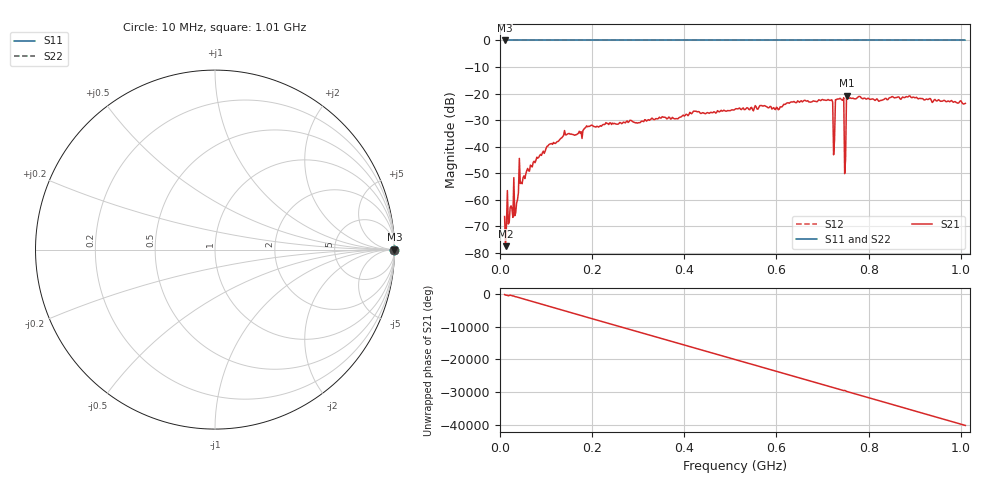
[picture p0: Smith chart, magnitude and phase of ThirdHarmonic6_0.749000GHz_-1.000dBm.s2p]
! 8/16/2025 1:03:42 AM
! C:\ANRITSUVNA\TEMP\TEMP.S2P
! CHANNEL.1
! TR.MEASUREMENT
! RAW.DATA
! RF.CORRECTION.OFF
! AVERAGING.OFF
! IF.BANDWIDTH: 5KHZ
! SWEEPTYPE:  FREQ.SWEEP(Linear)
! Reference Plane Port Info
! PORT:  PORT1  PORT2
! DISTANCE:  0  m  0  m
! TIME:  0  s  0  s
! PHASE.OFFSET:  0  deg.  0  deg.
! LOSS:  0  dB  0  dB
! REF.LOSS:  0  dB  0  dB
! REF.FREQ:  0  Hz  0  Hz
! Power Info
! POWER:  -20  dBm  -20  dBm
! EFF.POWER:  -20  dBm  -20  dBm
! SOURCE.ATTEN:  0  dB  0  dB
! TEST.ATTEN:  0  dB  0  dB
# GHZ S RI R 50.0
! FREQ.GHZ  S11RE  S11IM  S21RE  S21IM  S12RE  S12IM  S22RE  S22IM
!; PortSelection: Port_12
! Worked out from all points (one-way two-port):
!   501 points, 10 MHz to 1.01 GHz, reference 50 ohm
!   highest |S21| = -20.83 dB at 752 MHz (marker M1); lowest = -77.5 dB at 12 MHz (marker M2)
!   lowest |S11| = 0.0 dB at 10 MHz (marker M3)
!   |S11| at or under -10 dB: nowhere
!   |S22| runs from 0.0 to 0.0 dB; largest |S21 - S12| = 1.1
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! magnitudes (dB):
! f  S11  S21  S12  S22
! 10 MHz  0.0  -66.3  0.0  0.0
! 12 MHz  0.0  -77.5  0.0  0.0
! 16 MHz  0.0  -56.5  0.0  0.0
! 26 MHz  0.0  -63.5  0.0  0.0
! 36 MHz  0.0  -61.3  0.0  0.0
! 40 MHz  0.0  -57.3  0.0  0.0
! 46 MHz  0.0  -53.5  0.0  0.0
! 104 MHz  0.0  -39.7  0.0  0.0
! 178 MHz  0.0  -36.9  0.0  0.0
! 344 MHz  0.0  -29.3  0.0  0.0
! 510 MHz  0.0  -25.9  0.0  0.0
! 678 MHz  0.0  -23.0  0.0  0.0
! 718 MHz  0.0  -22.5  0.0  0.0
! 722 MHz  0.0  -23.2  0.0  0.0
! 726 MHz  0.0  -37.4  0.0  0.0
! 732 MHz  0.0  -22.1  0.0  0.0
! 742 MHz  0.0  -22.4  0.0  0.0
! 746 MHz  0.0  -21.6  0.0  0.0
! 752 MHz  0.0  -20.8  0.0  0.0
! 756 MHz  0.0  -21.8  0.0  0.0
! 844 MHz  0.0  -21.7  0.0  0.0
! 1.01 GHz  0.0  -23.7  0.0  0.0
